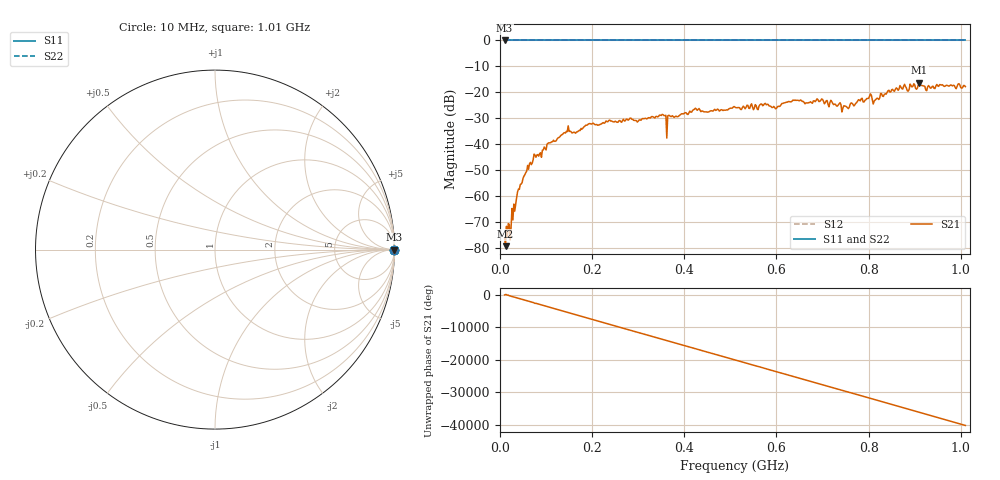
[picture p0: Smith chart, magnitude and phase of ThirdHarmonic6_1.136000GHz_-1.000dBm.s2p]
! 8/16/2025 11:06:46 AM
! C:\ANRITSUVNA\TEMP\TEMP.S2P
! CHANNEL.1
! TR.MEASUREMENT
! RAW.DATA
! RF.CORRECTION.OFF
! AVERAGING.OFF
! IF.BANDWIDTH: 5KHZ
! SWEEPTYPE:  FREQ.SWEEP(Linear)
! Reference Plane Port Info
! PORT:  PORT1  PORT2
! DISTANCE:  0  m  0  m
! TIME:  0  s  0  s
! PHASE.OFFSET:  0  deg.  0  deg.
! LOSS:  0  dB  0  dB
! REF.LOSS:  0  dB  0  dB
! REF.FREQ:  0  Hz  0  Hz
! Power Info
! POWER:  -20  dBm  -20  dBm
! EFF.POWER:  -20  dBm  -20  dBm
! SOURCE.ATTEN:  0  dB  0  dB
! TEST.ATTEN:  0  dB  0  dB
# GHZ S RI R 50.0
! FREQ.GHZ  S11RE  S11IM  S21RE  S21IM  S12RE  S12IM  S22RE  S22IM
!; PortSelection: Port_12
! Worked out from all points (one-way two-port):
!   501 points, 10 MHz to 1.01 GHz, reference 50 ohm
!   highest |S21| = -16.23 dB at 910 MHz (marker M1); lowest = -79.4 dB at 12 MHz (marker M2)
!   lowest |S11| = 0.0 dB at 10 MHz (marker M3)
!   |S11| at or under -10 dB: nowhere
!   |S22| runs from 0.0 to 0.0 dB; largest |S21 - S12| = 1.1
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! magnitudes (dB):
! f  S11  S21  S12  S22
! 10 MHz  0.0  -76.0  0.0  0.0
! 12 MHz  0.0  -79.4  0.0  0.0
! 24 MHz  0.0  -72.3  0.0  0.0
! 42 MHz  0.0  -57.5  0.0  0.0
! 76 MHz  0.0  -44.2  0.0  0.0
! 144 MHz  0.0  -35.1  0.0  0.0
! 178 MHz  0.0  -34.2  0.0  0.0
! 198 MHz  0.0  -32.3  0.0  0.0
! 344 MHz  0.0  -29.3  0.0  0.0
! 356 MHz  0.0  -29.0  0.0  0.0
! 366 MHz  0.0  -28.9  0.0  0.0
! 368 MHz  0.0  -29.0  0.0  0.0
! 422 MHz  0.0  -26.5  0.0  0.0
! 450 MHz  0.0  -27.7  0.0  0.0
! 510 MHz  0.0  -25.7  0.0  0.0
! 678 MHz  0.0  -24.2  0.0  0.0
! 754 MHz  0.0  -25.9  0.0  0.0
! 802 MHz  0.0  -21.5  0.0  0.0
! 814 MHz  0.0  -23.1  0.0  0.0
! 844 MHz  0.0  -19.2  0.0  0.0
! 910 MHz  0.0  -16.2  0.0  0.0
! 1.01 GHz  0.0  -17.8  0.0  0.0
